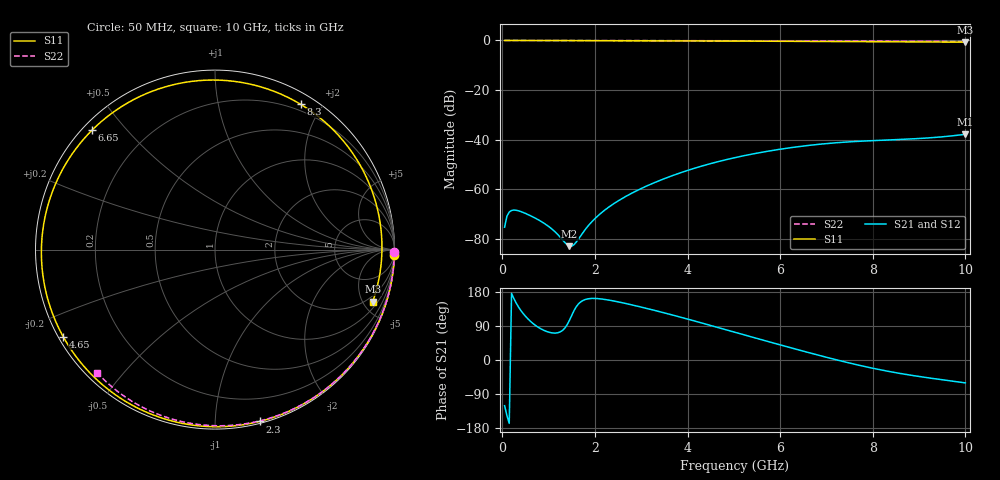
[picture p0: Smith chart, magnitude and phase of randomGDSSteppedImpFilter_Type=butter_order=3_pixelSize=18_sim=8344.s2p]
! freq	dB(S11)	phase(S11)	dB(S12)	phase(S12)
!  dB(S21)	phase(S21)	dB(S22)	phase(S22)
!S-par simulation data
#  GHz  S  DB  R 50
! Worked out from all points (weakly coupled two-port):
!   200 points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, 50 MHz to 10 GHz, reference 50 ohm
!   highest |S21| = -37.80 dB at 10 GHz (marker M1); lowest = -82.9 dB at 1.45 GHz (marker M2)
!   lowest |S11| = -0.7 dB at 10 GHz (marker M3), VSWR 25.82, Z = 72.5 - j293 ohm
!   |S11| at or under -10 dB: nowhere
!   |S22| runs from -0.5 to 0.0 dB; largest |S21 - S12| = 0
!   S11 on the Smith chart (normalised r, x): 50 MHz: 0, -68; 2.3 GHz: 0.01, -1.29; 4.65 GHz: 0.01, -0.27; 6.65 GHz: 0.03, +0.41; 8.3 GHz: 0.13, +1.75; 10 GHz: 1.45, -5.86
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0.05  -0.00 -1.7  -75.23 -120.6  -75.23 -120.6  -0.00 -0.8
0.1  -0.00 -3.4  -70.76 -146.6  -70.76 -146.6  -0.00 -1.5
0.15  -0.00 -5.1  -69.12 -167.3  -69.12 -167.3  -0.00 -2.3
0.3  -0.01 -10.1  -68.40 150.3  -68.40 150.3  -0.00 -4.6
0.85  -0.03 -28.4  -73.02 81.2  -73.02 81.2  -0.01 -13.0
1.3  -0.05 -43.2  -80.28 78.0  -80.28 78.0  -0.02 -19.8
1.45  -0.06 -48.1  -82.86 104.7  -82.86 104.7  -0.03 -22.1
1.65  -0.07 -54.6  -79.83 148.8  -79.83 148.8  -0.03 -25.1
1.75  -0.07 -57.8  -77.16 157.6  -77.16 157.6  -0.03 -26.5
2.3  -0.10 -75.4  -67.12 158.1  -67.12 158.1  -0.04 -34.7
3.4  -0.14 -110.1  -56.39 127.5  -56.39 127.5  -0.07 -50.5
4.65  -0.22 -150.2  -48.86 86.0  -48.86 86.0  -0.10 -67.8
5.05  -0.25 -163.7  -47.09 72.2  -47.09 72.2  -0.11 -73.1
5.85  -0.32 167.7  -44.26 45.0  -44.26 45.0  -0.14 -83.6
6.65  -0.40 135.9  -42.20 18.4  -42.20 18.4  -0.18 -93.7
6.7  -0.40 133.7  -42.10 16.8  -42.10 16.8  -0.18 -94.3
7.55  -0.48 95.6  -40.78 -9.5  -40.78 -9.5  -0.23 -104.7
8.3  -0.54 59.4  -40.11 -29.1  -40.11 -29.1  -0.29 -113.7
8.35  -0.54 57.0  -40.07 -30.2  -40.07 -30.2  -0.29 -114.3
9.15  -0.60 18.7  -39.32 -46.2  -39.32 -46.2  -0.36 -123.7
9.55  -0.63 0.7  -38.73 -53.0  -38.73 -53.0  -0.40 -128.4
10  -0.67 -18.3  -37.80 -60.4  -37.80 -60.4  -0.45 -133.6
